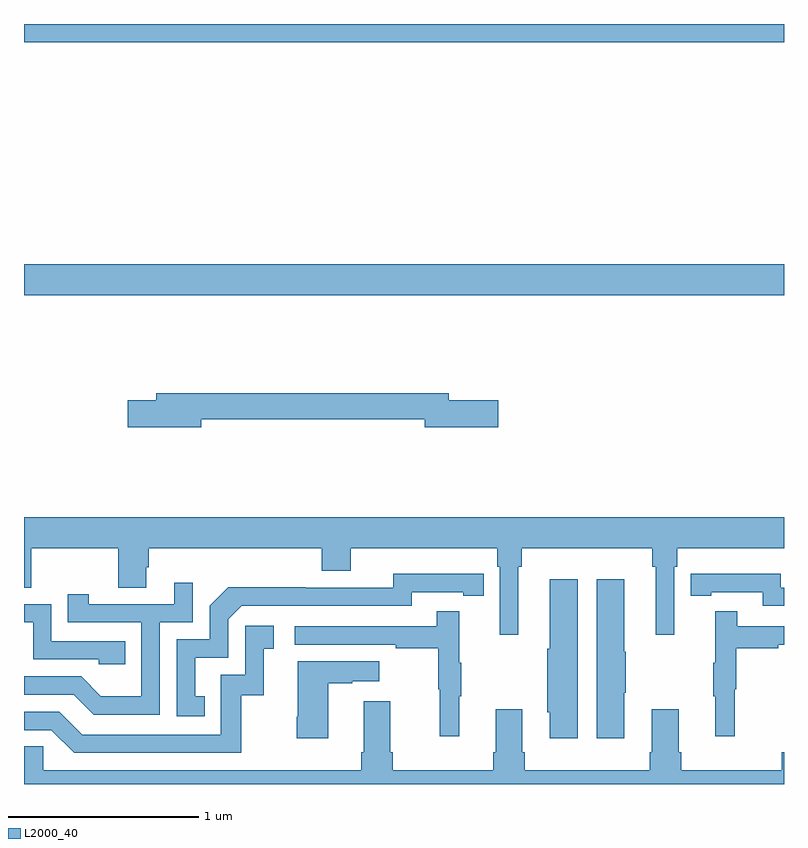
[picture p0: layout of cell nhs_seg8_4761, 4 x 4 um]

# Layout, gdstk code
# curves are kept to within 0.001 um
import gdstk
lib = gdstk.Library(unit=1e-6, precision=1e-09)
def R(c, l, rs):  # rectangles x0, y0, x1, y1
    for r in rs: c.add(gdstk.rectangle(r[:2], r[2:], *l))
def P(c, l, *ps):  # polygons
    for p in ps: c.add(gdstk.Polygon(p, *l))
L2000_40 = (2000, 40)

nhs_seg8_4761 = lib.new_cell('nhs_seg8_4761')
R(nhs_seg8_4761, L2000_40, [(399,1144.472,403,1144.636), (399,1145.804,403,1145.9)])
P(nhs_seg8_4761, L2000_40, [(399.934,1143.82),(401.108,1143.82),(401.108,1143.778),(401.497,1143.778),(401.497,1143.92),(401.236,1143.92),(401.236,1143.956),(399.695,1143.956),(399.695,1143.92),(399.546,1143.92),(399.546,1143.778),(399.934,1143.778)],
  [(401.602,1143.044),(401.621,1143.044),(401.621,1143.14),(402.307,1143.14),(402.307,1143.044),(402.326,1143.044),(402.326,1142.685),(402.423,1142.685),(402.423,1143.044),(402.437,1143.044),(402.437,1143.14),(403,1143.14),(403,1143.304),(399,1143.304),(399,1142.932),(399.039,1142.932),(399.039,1143.14),(399.496,1143.14),(399.496,1142.932),(399.643,1142.932),(399.643,1143.042),(399.656,1143.042),(399.656,1143.14),(400.568,1143.14),(400.568,1143.023),(400.72,1143.023),(400.72,1143.14),(401.492,1143.14),(401.492,1143.044),(401.505,1143.044),(401.505,1142.685),(401.602,1142.685)],
  [(399.95,1142.361),(399.901,1142.361),(399.901,1142.565),(400.074,1142.565),(400.074,1142.766),(400.146,1142.838),(401.04,1142.838),(401.04,1142.91),(401.312,1142.91),(401.312,1142.89),(401.42,1142.89),(401.42,1143.006),(400.944,1143.007),(400.944,1142.934),(400.484,1142.934),(400.484,1142.936),(400.076,1142.936),(399.978,1142.838),(399.978,1142.661),(399.804,1142.661),(399.804,1142.256),(399.95,1142.256)],
  [(403,1142.934),(402.984,1142.934),(402.984,1143.007),(402.616,1143.007),(402.616,1143.006),(402.508,1143.006),(402.508,1142.89),(402.616,1142.89),(402.616,1142.91),(402.888,1142.91),(402.888,1142.838),(403,1142.838)],
  [(402.16,1142.38),(402.168,1142.38),(402.168,1142.597),(402.16,1142.597),(402.16,1142.977),(402.014,1142.977),(402.014,1142.142),(402.16,1142.142)],
  [(401.914,1142.977),(401.768,1142.977),(401.768,1142.613),(401.753,1142.613),(401.753,1142.277),(401.768,1142.277),(401.768,1142.142),(401.914,1142.142)],
  [(399.714,1142.751),(399.888,1142.751),(399.888,1142.959),(399.791,1142.959),(399.791,1142.847),(399.34,1142.847),(399.34,1142.899),(399.229,1142.899),(399.229,1142.751),(399.618,1142.751),(399.618,1142.362),(399.404,1142.362),(399.3,1142.466),(399,1142.466),(399,1142.37),(399.263,1142.37),(399.368,1142.265),(399.714,1142.265)],
  [(399.533,1142.652),(399.144,1142.652),(399.144,1142.847),(399,1142.847),(399,1142.751),(399.048,1142.751),(399.048,1142.556),(399.393,1142.556),(399.393,1142.529),(399.533,1142.529)],
  [(401.291,1142.363),(401.302,1142.363),(401.302,1142.537),(401.291,1142.537),(401.291,1142.809),(401.173,1142.809),(401.173,1142.73),(400.425,1142.73),(400.425,1142.634),(400.957,1142.634),(400.957,1142.614),(401.181,1142.614),(401.181,1142.4),(401.188,1142.4),(401.188,1142.151),(401.291,1142.151)],
  [(402.74,1142.4),(402.748,1142.4),(402.748,1142.614),(402.971,1142.614),(402.971,1142.634),(403,1142.634),(403,1142.73),(402.755,1142.73),(402.755,1142.809),(402.638,1142.809),(402.638,1142.537),(402.627,1142.537),(402.627,1142.363),(402.638,1142.363),(402.638,1142.151),(402.74,1142.151)],
  [(400.144,1142.367),(400.262,1142.367),(400.262,1142.613),(400.315,1142.613),(400.315,1142.734),(400.164,1142.734),(400.164,1142.475),(400.035,1142.475),(400.035,1142.16),(399.306,1142.16),(399.186,1142.28),(399,1142.28),(399,1142.184),(399.144,1142.184),(399.264,1142.064),(400.144,1142.064)],
  [(400.6,1142.431),(400.727,1142.431),(400.727,1142.441),(400.87,1142.441),(400.87,1142.545),(400.442,1142.545),(400.442,1142.254),(400.435,1142.254),(400.435,1142.142),(400.6,1142.142)],
  [(403,1142.068),(402.989,1142.068),(402.989,1141.972),(402.458,1141.972),(402.458,1142.068),(402.445,1142.068),(402.445,1142.293),(402.305,1142.293),(402.305,1142.068),(402.293,1142.068),(402.293,1141.972),(401.636,1141.972),(401.636,1142.068),(401.623,1142.068),(401.623,1142.293),(401.483,1142.293),(401.483,1142.068),(401.471,1142.068),(401.471,1141.972),(400.94,1141.972),(400.94,1142.068),(400.927,1142.068),(400.927,1142.335),(400.787,1142.335),(400.787,1142.068),(400.775,1142.068),(400.775,1141.972),(399.102,1141.972),(399.102,1142.099),(399,1142.099),(399,1141.9),(403,1141.9)])

lib.write_gds('nhs_seg8_4761.gds')
